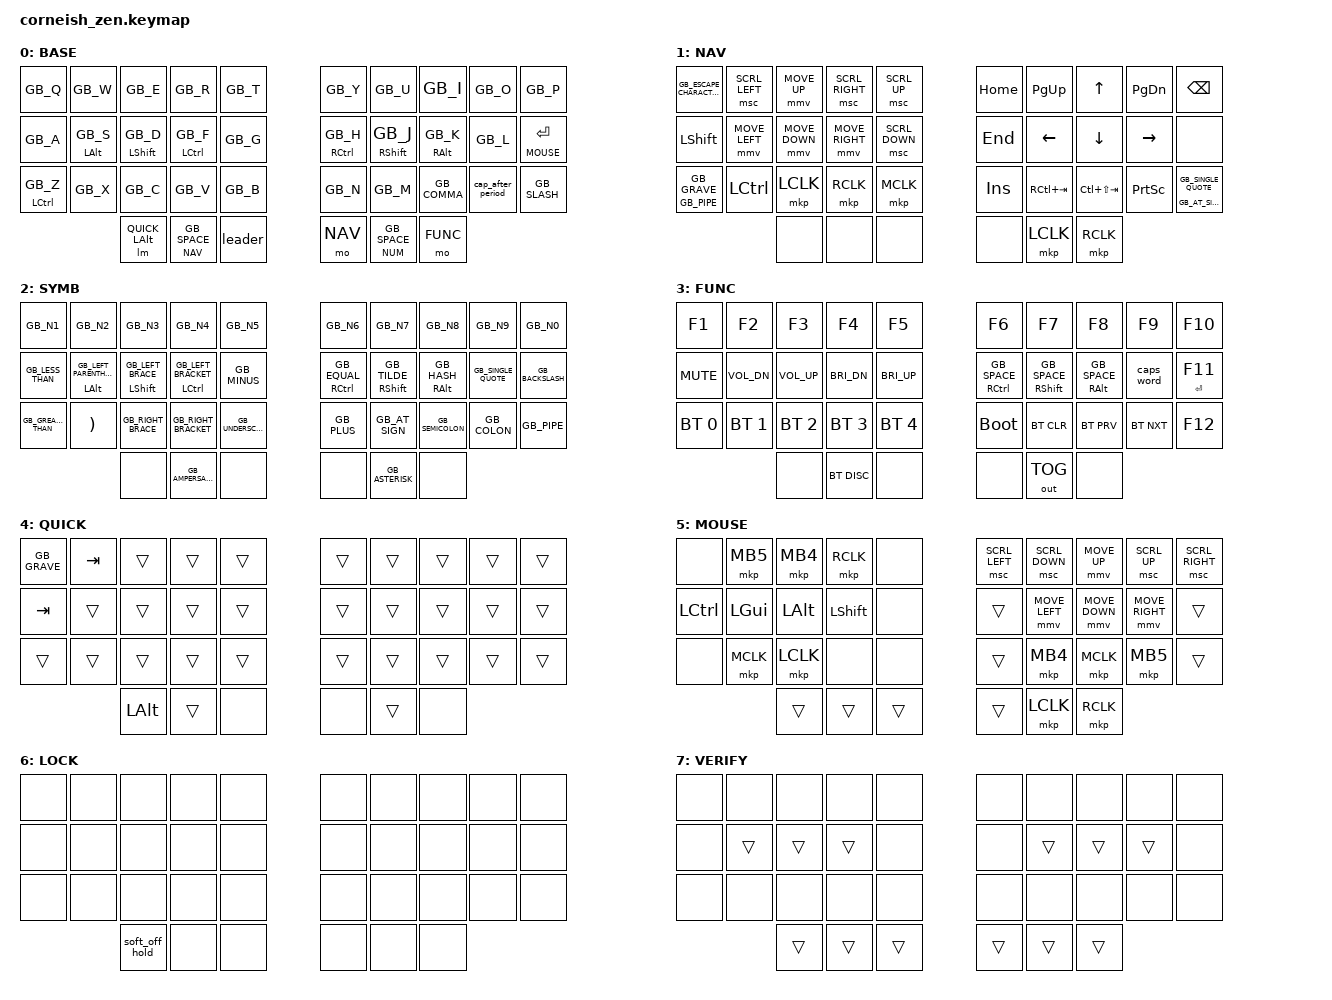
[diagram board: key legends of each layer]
#include <behaviors.dtsi>
#include "italian.keycodes"

#define HOST_OS 1 // 1 = Linux, 2 = macOS
#include <zmk-helpers/helper.h>


#ifndef KEYMAP_DRAWER
#   include "keys_en_gb.h"
#endif

#include <dt-bindings/zmk/bt.h>
#include <dt-bindings/zmk/keys.h>
#include <dt-bindings/zmk/outputs.h>

#include <behaviors/rgbled_widget.dtsi>
#include <behaviors/num_word.dtsi>

#define MS_ACT(key) &lt MSE key

// Layer definitions

#define BASE 0
#define NAV 1
#define NUM 2
#define FUNC 3
#define QUICK 4
#define MOUSE 5

#include "includes/mouse.dtsi" # this one needs to stay here, after the previous constants definitions

#define LOCK 6
#define VERIFY 7
#define COMBO_TIMEOUT_MS 80

#include "includes/leader.dtsi"

#define XXXXX &none
#define ___ &trans

// tapping term definition
#define TAP_TERM_MS 200
#define QUICK_TAP_MS 125

// 36 keys physical layout
#define LEFT_KEYS 0 1 2 3 4 10 11 12 13 14 20 21 22 23 24 // left-hand keys
#define RIGHT_KEYS 5 6 7 8 9 15 16 17 18 19 25 26 27 28 29 // right-hand keys
#define THUMBS 30 31 32 33 34 35 // thumb keys

// -----------------

&mt {
    flavor = "tap-preferred";
    tapping_term_ms = <200>;
};

&lt {
    flavor = "tap-preferred";
    tapping-term-ms = <200>;
    quick-tap-ms = <0>;
};

&caps_word {
    continue-list = <UNDERSCORE MINUS BSPC N1 N2 N3 N4 N5 N6 N7 N8 N9 N0>;
};

// tune sticky key
&sk {
    release-after-ms = <1000>;
    quick-release;
};

/ {
    chosen {
        zmk,physical-layout = &foostan_corne_5col_layout;
    };
};

///// MACROS ///////////////
/ {
    macros {
        // sample macro used just for tests
        /omit-if-no-ref/
        zed_em_kay: zed_em_kay {
            label = "ZM_zed_em_kay";
            compatible = "zmk,behavior-macro";
            #binding-cells = <0>;
            bindings =
                <&macro_press>,
                <&kp LSHFT>,
                <&macro_tap>,
                <&kp GB_Z &kp GB_M &kp GB_K>,
                <&macro_release>,
                <&kp LSHFT>;
        };


        dot_spc: dot_spc{
            label = "ZM_DOT_SPACE";
            compatible = "zmk,behavior-macro";
            #binding-cells = <0>;
            wait-ms = <0>;
            bindings = <&kp GB_DOT &kp SPACE &sk LSHFT>;
        };

        three_dots_macro: three_dots_macro{
            label = "THREE_DOTS";
            compatible = "zmk,behavior-macro";
            #binding-cells = <0>;
            wait-ms = <0>;
            bindings = <&kp GB_DOT &kp GB_DOT &kp GB_DOT &kp SPACE>;
        };


        /**
		* Temporarily switches to a layer (`&mo`) while a modifier is held.
		* Analogous to QMK's `LM()`, using a parameterized macro.
		*
		* Params:
		*  1. Layer to switch to
		*  2. Modifier to press while layer is active
		*
		* Example:
		*  `&lm NUM_LAYER LSHIFT`
		*/

        /omit-if-no-ref/

        lm: lm {
            label = "Layer Mod";
            wait-ms = <0>;
            tap-ms = <0>;
            compatible = "zmk,behavior-macro-two-param";
            #binding-cells = <2>;
            bindings =
                <&macro_param_1to1>,
                <&macro_press>,
                <&mo MACRO_PLACEHOLDER &macro_param_2to1>,
                <&macro_press>,
                <&kp MACRO_PLACEHOLDER>,
                <&macro_pause_for_release>,
                <&macro_param_2to1>,
                <&macro_release>,
                <&kp MACRO_PLACEHOLDER &macro_param_1to1>,
                <&macro_release>,
                <&mo MACRO_PLACEHOLDER>;
        };

    };
};




///// BEHAVIORS ///////////////
/ {
    behaviors {
        /omit-if-no-ref/

        soft_off_hold: soft_off_hold {
            compatible = "zmk,behavior-soft-off";
            #binding-cells = <0>;
            hold-time-ms = <500>;
        };

        /omit-if-no-ref/

        hm: homerow_mods {
            compatible = "zmk,behavior-hold-tap";
            label = "HOMEROW_MODS";
            #binding-cells = <2>;
            tapping-term-ms = <200>;
            quick_tap_ms = <0>;
            flavor = "tap-preferred";
            bindings = <&kp>, <&kp>;
        };

        /omit-if-no-ref/
        // HOME ROW MODS
        hml: left_hand_positional_hold_tap {
            compatible = "zmk,behavior-hold-tap";
            label = "LEFT_POSITIONAL_HOLD_TAP";
            #binding-cells = <2>;                              // Must be <2> for "hold-tap" as per documentation
            flavor = "balanced";
            tapping-term-ms = <TAP_TERM_MS>;                   // How long in milliseconds the key must be held to trigger a hold
            quick-tap-ms = <QUICK_TAP_MS>;                     // double-tap + hold repeats tap-key
            require-prior-idle-ms = <75>;                      // do not activate HOLD during typing flow (reduced from 150 to match hmr)
            bindings = <&kp>, <&kp>;                           // A list of two behaviors (without parameters): one for hold and one for tap
            hold-trigger-key-positions = <RIGHT_KEYS THUMBS>;  // If set, pressing the hold-tap and then any key position not in the list triggers a tap.
            hold-trigger-on-release;
        };

        /omit-if-no-ref/
        hmr: right_hand_positional_hold_tap {
            compatible = "zmk,behavior-hold-tap";
            label = "RIGHT_POSITIONAL_HOLD_TAP";
            #binding-cells = <2>;
            flavor = "balanced";
            tapping-term-ms = <TAP_TERM_MS>;
            quick-tap-ms = <QUICK_TAP_MS>;       // double-tap + hold repeats tap-key
            require-prior-idle-ms = <75>;       // do not activate HOLD during typing flow
            bindings = <&kp>, <&kp>;
            hold-trigger-key-positions = <LEFT_KEYS THUMBS>;
            hold-trigger-on-release;
        };

/*
        // tap: space | shft + tap: dot -> space -> sticky shift | hold: activate layer
        spc_morph: spc_morph {
            compatible = "zmk,behavior-mod-morph";
            label = "SPC_MORPH";
            #binding-cells = <0>;
            bindings = <&kp DOT>, <&dot_spc>;
        };
        lt_spc: lt_spc {
            compatible = "zmk,behavior-hold-tap";
            label = "LT_SPC";
            #binding-cells = <2>;
            tapping-term-ms = <TAP_TERM_MS>;
            quick-tap-ms = <QUICK_TAP_MS>;
            flavor = "balanced";
            bindings = <&mo>, <&spc_morph>;
        };
*/

        // TAP Dances
        cap_after_period: cap_after_period {
            compatible = "zmk,behavior-tap-dance";
            label = "TAP_DANCE_cap_after_period";
            #binding-cells = <0>;
            tapping-term-ms = <300>;
            bindings = <&kp GB_DOT>, <&dot_spc>, <&three_dots_macro>;
        };

        /omit-if-no-ref/
        smart_mouse: smart_mouse {
            compatible = "zmk,behavior-auto-layer";
            #binding-cells = <1>;
            continue-list = <BSPC DEL>;
            ignore-modifiers;
        };
    };
/*                KEY POSITIONS
36 keys:

  ╭────────────────────╮ ╭────────────────────╮
  │  0   1   2   3   4 │ │  5   6   7   8   9 │
  │ 10  11  12  13  14 │ │ 15  16  17  18  19 │
  │ 20  21  22  23  24 │ │ 25  26  27  28  29 │
  ╰───────╮ 30  31  32 │ │ 33  34  35 ╭───────╯
          ╰────────────╯ ╰────────────╯
*/

///// COMBOS ///////////////
    combos {
        compatible = "zmk,combos";


        LOCK_keyboard {
            bindings = <&tog LOCK>;
            key-positions = <0 9 32 33>;
            timeout-ms = <40>;
            require-prior-idle-ms = <1000>;
        };


        ///////// Left-hand combos

        tab_1 {
            bindings = <&kp TAB>;
            key-positions = <12 13>;
            layers = <BASE>;
            timeout-ms = <140>;
            require-prior-idle-ms = <150>;
        };

        backtick {
            bindings = <&kp GB_GRAVE>;
            key-positions = <0 10>;
            layers = <BASE>;
        };

        esc {
            bindings = <&kp ESC>;
            key-positions = <0 1>;
            layers = <BASE>;
            timeout-ms = <COMBO_TIMEOUT_MS>;
        };

        tab {
            bindings = <&kp TAB>;
            key-positions = <1 2>;
            layers = <BASE>;
            timeout-ms = <COMBO_TIMEOUT_MS>;
        };

        windows {
            bindings = <&kp LWIN>;
            key-positions = <30 31>;
            layers = <BASE>;
            require-prior-idle-ms = <1000>;
        };

        reset_BT{
            bindings = <&bt BT_CLR_ALL>;
            key-positions = <12 13 24>;
            layers = <FUNC>;
            timeout-ms = <200>;
        };

        activate_bootloader{
            bindings = <&bootloader>;
            key-positions = <24 25>;
            layers = <FUNC>;
            require-prior-idle-ms = <1000>;
        };

        soft_off_combo{
            bindings = <&soft_off_hold>;
            key-positions = <0 1>;
            layers = <FUNC>;
        };

        verify_mode {
            bindings = <&tog VERIFY>;
            key-positions = <30 35>;
            timeout-ms = <200>;
            require-prior-idle-ms = <1000>;
        };


        ///////// Right-hand combos
        // this are supposed to be double quotes

        backspace {
            bindings = <&kp BACKSPACE>;
            key-positions = <8 9>;
            layers = <BASE>;
            timeout-ms = <COMBO_TIMEOUT_MS>;
        };

        minus {
            bindings = <&kp GB_MINUS>;
            key-positions = <17 18>;
            layers = <BASE>;
            timeout-ms = <COMBO_TIMEOUT_MS>;
        };

        delete {
            bindings = <&kp DELETE>;
            key-positions = <9 19>;
            layers = <BASE>;
            timeout-ms = <COMBO_TIMEOUT_MS>;
        };


        question {
            bindings = <&kp GB_QUESTION>;
            key-positions = <28 29>;
            layers = <BASE>;
            timeout-ms = <COMBO_TIMEOUT_MS>;
        };

        apostrophe {
            bindings = <&kp GB_APOSTROPHE>;
            key-positions = <19 18>;
            layers = <BASE>;
        };


        symb_layer {
            bindings = <&mo NAV>;
            key-positions = <33 34>;
            layers = <BASE>;
            require-prior-idle-ms = <1000>;
        };

        numword {
            bindings = <&num_word NUM>;
            key-positions = <34 35>;
            layers = <BASE>;
            timeout-ms = <COMBO_TIMEOUT_MS>;
            require-prior-idle-ms = <150>;
        };

        smart_mouse_combo {
            bindings = <&smart_mouse MOUSE>;
            key-positions = <13 16>;
            layers = <BASE>;
            timeout-ms = <40>;
            require-prior-idle-ms = <200>;
        };

    };

///// KEYMAP ///////////////
    keymap {
        compatible = "zmk,keymap";

        // Base alpha layer
        // legenda:
        // 
        // kp = tap
        // mt = hold
        // mo = momentary layer
        // hm = homerow_mods
        // lt = layer_tap
        // &kp LS(A) = LEFT_SHIFT+A
        // &kp LC(RA(B)) = LEFT_CONTROL+RIGHT_ALT+B

        BASE_layer {
            label = "BASE";
            bindings = <
//╭───────────────┬────────────────┬────────────────┬────────────────┬───────────────╮     ╭───────────────┬────────────────┬────────────────┬────────────────┬───────────────╮
        &kp GB_Q       &kp GB_W        &kp GB_E          &kp GB_R       &kp GB_T                &kp GB_Y       &kp GB_U          &kp GB_I        &kp GB_O         &kp GB_P
//├───────────────┼────────────────┼────────────────┼────────────────┼───────────────┤     ├───────────────┼────────────────┼────────────────┼────────────────┼───────────────┤
        &kp GB_A    &hml LALT GB_S  &hml LSHIFT GB_D  &hml LCTRL GB_F    &kp GB_G           &hmr RCTRL GB_H  &hmr RSHFT GB_J  &hmr RALT GB_K       &kp GB_L       &lt MOUSE ENTER
//├───────────────┼────────────────┼────────────────┼────────────────┼───────────────┤     ├───────────────┼────────────────┼────────────────┼────────────────┼───────────────┤
    &mt LCTRL GB_Z      &kp GB_X        &kp GB_C         &kp GB_V        &kp GB_B               &kp GB_N       &kp GB_M        &kp GB_COMMA  &cap_after_period      &kp GB_SLASH
//╰───────────────┴────────────────┼────────────────┼────────────────┼───────────────┤     ├───────────────┼────────────────┼────────────────┼────────────────┴───────────────╯
                                     &lm QUICK LALT  &lt NAV GB_SPACE   &leader                &mo NAV       &lt NUM GB_SPACE   &mo FUNC
//                                 ╰────────────────┴────────────────┴───────────────╯     ╰───────────────┴────────────────┴────────────────╯
            >;
        };

        NAV_layer {
            label = "NAV";
            bindings = <
//╭───────────────┬────────────────┬────────────────┬────────────────┬───────────────╮     ╭───────────────┬────────────────┬────────────────┬────────────────┬───────────────╮
&kp GB_ESCAPE_CHARACTER &msc SCRL_LEFT &mmv MOVE_UP   &msc SCRL_RIGHT   &msc SCRL_UP           &kp HOME        &kp PG_UP          &kp UP         &kp PG_DN      &kp BACKSPACE
//├──────────────┼─────────────────┼────────────────┼────────────────┼───────────────┤     ├───────────────┼────────────────┼────────────────┼────────────────┼───────────────┤
     &kp LSHIFT    &mmv MOVE_LEFT    &mmv MOVE_DOWN  &mmv MOVE_RIGHT  &msc SCRL_DOWN           &kp END        &kp LEFT          &kp DOWN         &kp RIGHT        XXXXX
//├───────────────┼────────────────┼────────────────┼────────────────┼───────────────┤     ├───────────────┼────────────────┼────────────────┼────────────────┼───────────────┤
&mt GB_PIPE GB_GRAVE   &kp LCTRL        &mkp LCLK       &mkp RCLK        &mkp MCLK             &kp INS         &kp RC(TAB)    &kp LC(LS(TAB))    &kp PSCRN      &mt GB_AT_SIGN GB_SINGLE_QUOTE
//╰───────────────┴────────────────┼────────────────┼────────────────┼───────────────┤     ├───────────────┼────────────────┼────────────────┼────────────────┴───────────────╯
                                         XXXXX           XXXXX            XXXXX                  XXXXX        &mkp LCLK        &mkp RCLK
//                                 ╰────────────────┴────────────────┴───────────────╯     ╰───────────────┴────────────────┴────────────────╯
            >;
        };

        SYMB_layer {
            label = "SYMB";
            bindings = <
//╭───────────────┬────────────────┬────────────────┬────────────────┬───────────────╮     ╭───────────────┬────────────────┬────────────────┬────────────────┬───────────────╮
       &kp GB_N1      &kp GB_N2         &kp GB_N3        &kp GB_N4       &kp GB_N5             &kp GB_N6       &kp GB_N7        &kp GB_N8         &kp GB_N9       &kp GB_N0
//├───────────────┼────────────────┼────────────────┼────────────────┼───────────────┤     ├───────────────┼────────────────┼────────────────┼────────────────┼───────────────┤
 &kp GB_LESS_THAN   &hm LALT GB_LEFT_PARENTHESIS  &hml LSHIFT GB_LEFT_BRACE  &hml LCTRL GB_LEFT_BRACKET  &kp GB_MINUS       &hmr RCTRL GB_EQUAL  &hmr RSHFT GB_TILDE  &hmr RALT GB_HASH  &kp GB_SINGLE_QUOTE  &kp GB_BACKSLASH
//├───────────────┼────────────────┼────────────────┼────────────────┼───────────────┤     ├───────────────┼────────────────┼────────────────┼────────────────┼───────────────┤
&kp GB_GREATER_THAN    &kp RPAR    &kp GB_RIGHT_BRACE &kp GB_RIGHT_BRACKET &kp GB_UNDERSCORE  &kp GB_PLUS    &kp GB_AT_SIGN  &kp GB_SEMICOLON    &kp GB_COLON    &kp GB_PIPE
//╰───────────────┴────────────────┼────────────────┼────────────────┼───────────────┤     ├───────────────┼────────────────┼────────────────┼────────────────┴───────────────╯
                                          XXXXX      &kp GB_AMPERSAND     XXXXX                  XXXXX       &kp GB_ASTERISK       XXXXX
//                                 ╰────────────────┴────────────────┴───────────────╯     ╰───────────────┴────────────────┴────────────────╯
            >;
        };

        FUNC_layer {
            label = "FUNC";
            bindings = <
//╭───────────────┬────────────────┬────────────────┬────────────────┬───────────────╮     ╭───────────────┬────────────────┬────────────────┬────────────────┬───────────────╮
        &kp F1          &kp F2           &kp F3           &kp F4          &kp F5                 &kp F6         &kp F7            &kp F8           &kp F9          &kp F10
//├───────────────┼────────────────┼────────────────┼────────────────┼───────────────┤     ├───────────────┼────────────────┼────────────────┼────────────────┼───────────────┤
     &kp C_MUTE     &kp C_VOL_DN      &kp C_VOL_UP    &kp C_BRI_DN     &kp C_BRI_UP    &hmr RCTRL GB_SPACE  &hmr RSHFT GB_SPACE  &hmr RALT GB_SPACE   &caps_word    &hmr ENTER F11
//├───────────────┼────────────────┼────────────────┼────────────────┼───────────────┤     ├───────────────┼────────────────┼────────────────┼────────────────┼───────────────┤
    &bt BT_SEL 0     &bt BT_SEL 1     &bt BT_SEL 2     &bt BT_SEL 3     &bt BT_SEL 4            &bootloader       &bt BT_CLR       &bt BT_PRV       &bt BT_NXT        &kp F12
//╰───────────────┴────────────────┼────────────────┼────────────────┼───────────────┤     ├───────────────┼────────────────┼────────────────┼────────────────┴───────────────╯
                                          XXXXX          &bt BT_DISC      XXXXX                   XXXXX      &out OUT_TOG     XXXXX
//                                 ╰────────────────┴────────────────┴───────────────╯     ╰───────────────┴────────────────┴────────────────╯
            >;
        };

        QUICK_layer {
            bindings = <
//╭───────────────┬────────────────┬────────────────┬────────────────┬───────────────╮     ╭───────────────┬────────────────┬────────────────┬────────────────┬───────────────╮
    &kp GB_GRAVE        &kp TAB            ___              ___             ___                   ___              ___              ___              ___              ___
//├───────────────┼────────────────┼────────────────┼────────────────┼───────────────┤     ├───────────────┼────────────────┼────────────────┼────────────────┼───────────────┤
        &kp TAB          ___               ___              ___             ___                   ___              ___              ___              ___              ___
//├───────────────┼────────────────┼────────────────┼────────────────┼───────────────┤     ├───────────────┼────────────────┼────────────────┼────────────────┼───────────────┤
          ___            ___               ___              ___             ___                   ___              ___              ___              ___              ___
//╰───────────────┴────────────────┼────────────────┼────────────────┼───────────────┤     ├───────────────┼────────────────┼────────────────┼────────────────┴───────────────╯
                                        &kp LALT            ___             XXXXX                XXXXX              ___             XXXXX
//                                 ╰────────────────┴────────────────┴───────────────╯     ╰───────────────┴────────────────┴────────────────╯
            >;

            label = "QUICK";
        };

        MOUSE_layer {
            label = "MOUSE";
            bindings = <
//╭───────────────┬────────────────┬────────────────┬────────────────┬───────────────╮     ╭───────────────┬────────────────┬────────────────┬────────────────┬───────────────╮
        XXXXX          &mkp MB5          &mkp MB4          &mkp RCLK        XXXXX             &msc SCRL_LEFT   &msc SCRL_DOWN    &mmv MOVE_UP      &msc SCRL_UP   &msc SCRL_RIGHT
//├───────────────┼────────────────┼────────────────┼────────────────┼───────────────┤     ├───────────────┼────────────────┼────────────────┼────────────────┼───────────────┤
        &kp LCTRL      &kp LGUI          &kp LALT         &kp LSHFT        XXXXX                   ___        &mmv MOVE_LEFT &mmv MOVE_DOWN  &mmv MOVE_RIGHT        ___
//├───────────────┼────────────────┼────────────────┼────────────────┼───────────────┤     ├───────────────┼────────────────┼────────────────┼────────────────┼───────────────┤
        XXXXX          &mkp MCLK         &mkp LCLK          XXXXX           XXXXX                  ___          &mkp MB4        &mkp MCLK        &mkp MB5            ___
//╰───────────────┴────────────────┼────────────────┼────────────────┼───────────────┤     ├───────────────┼────────────────┼────────────────┼────────────────┴───────────────╯
                                          ___               ___              ___                   ___          &mkp LCLK      &mkp RCLK
//                                 ╰────────────────┴────────────────┴───────────────╯     ╰───────────────┴────────────────┴────────────────╯
            >;
        };

        LOCK_layer {
            label = "LOCK";
            bindings = <
//╭───────────────┬────────────────┬────────────────┬────────────────┬───────────────╮     ╭───────────────┬────────────────┬────────────────┬────────────────┬───────────────╮
        XXXXX           XXXXX            XXXXX            XXXXX            XXXXX                  XXXXX            XXXXX            XXXXX          XXXXX            XXXXX
//├───────────────┼────────────────┼────────────────┼────────────────┼───────────────┤     ├───────────────┼────────────────┼────────────────┼────────────────┼───────────────┤
        XXXXX           XXXXX            XXXXX            XXXXX            XXXXX                  XXXXX            XXXXX            XXXXX          XXXXX            XXXXX
//├───────────────┼────────────────┼────────────────┼────────────────┼───────────────┤     ├───────────────┼────────────────┼────────────────┼────────────────┼───────────────┤
        XXXXX           XXXXX            XXXXX            XXXXX            XXXXX                  XXXXX            XXXXX            XXXXX          XXXXX             XXXXX
//╰───────────────┴────────────────┼────────────────┼────────────────┼───────────────┤     ├───────────────┼────────────────┼────────────────┼────────────────┴───────────────╯
                                     &soft_off_hold    XXXXX            XXXXX                  XXXXX            XXXXX            XXXXX
//                                 ╰────────────────┴────────────────┴───────────────╯     ╰───────────────┴────────────────┴────────────────╯
>;
        };

        VERIFY_layer {
            display-name = "VERIFY";
            bindings = <
//╭───────────────┬────────────────┬────────────────┬────────────────┬───────────────╮     ╭───────────────┬────────────────┬────────────────┬────────────────┬───────────────╮
        XXXXX           XXXXX            XXXXX            XXXXX            XXXXX                  XXXXX            XXXXX            XXXXX          XXXXX            XXXXX
//├───────────────┼────────────────┼────────────────┼────────────────┼───────────────┤     ├───────────────┼────────────────┼────────────────┼────────────────┼───────────────┤
        XXXXX            ___              ___              ___            XXXXX                  XXXXX              ___              ___            ___              XXXXX
//├───────────────┼────────────────┼────────────────┼────────────────┼───────────────┤     ├───────────────┼────────────────┼────────────────┼────────────────┼───────────────┤
        XXXXX           XXXXX            XXXXX            XXXXX            XXXXX                  XXXXX            XXXXX            XXXXX          XXXXX             XXXXX
//╰───────────────┴────────────────┼────────────────┼────────────────┼───────────────┤     ├───────────────┼────────────────┼────────────────┼────────────────┴───────────────╯
                                          ___              ___             ___                     ___              ___              ___
//                                 ╰────────────────┴────────────────┴───────────────╯     ╰───────────────┴────────────────┴────────────────╯
>;
        };
    };
};
